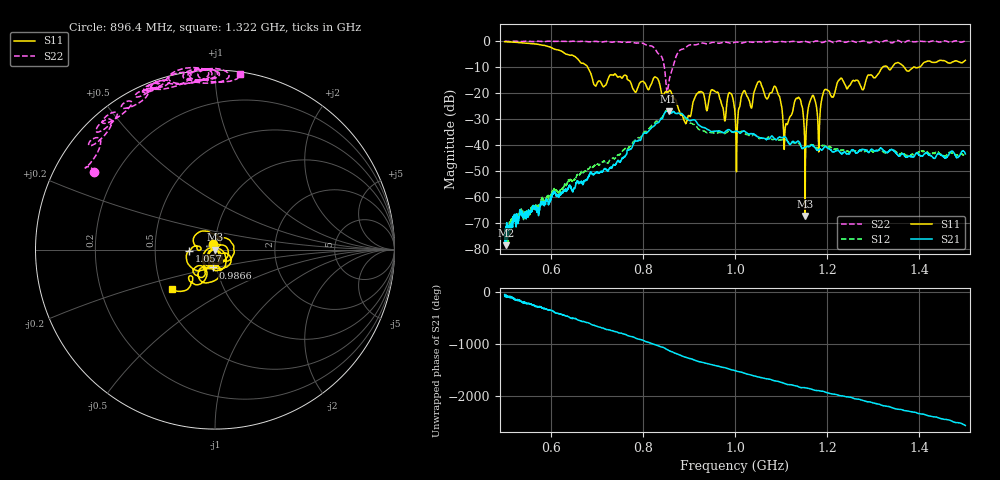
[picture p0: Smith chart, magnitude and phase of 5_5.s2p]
!Agilent Technologies,E8364B,US42250235,A.06.04.32
!Agilent E8364B: A.06.04.32
!Date: Thursday, October 01, 2020 16:07:17
!Correction: S11(Full 2 Port(1,2)) S21(Full 2 Port(1,2)) S12(Full 2 Port(1,2)) S22(Full 2 Port(1,2))
!S2P File: Measurements: S11, S21, S12, S22:
# Hz S  dB  R 50
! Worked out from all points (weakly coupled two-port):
!   2650 points, 500 MHz to 1.5 GHz, reference 50 ohm
!   highest |S21| = -26.87 dB at 856 MHz (marker M1); lowest = -78.5 dB at 502.3 MHz (marker M2)
!   lowest |S11| = -67.2 dB at 1.152 GHz (marker M3), VSWR 1.00, Z = 50 + j0.0412 ohm
!   |S11| at or under -10 dB: 680.4 MHz to 1.32 GHz (640 MHz wide, 64 % of centre); 1.331 GHz to 1.341 GHz (10.3 MHz wide, 0.771 % of centre); 1.367 GHz to 1.387 GHz (20 MHz wide, 1.45 % of centre) (the widest 3 of 4)
!   |S22| runs from -19.7 to 0.3 dB; largest |S21 - S12| = 0.024
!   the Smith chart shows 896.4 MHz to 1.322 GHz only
!   S11 on the Smith chart (normalised r, x): 896.4 MHz: 0.98, +0.06; 986.6 MHz: 0.96, -0.19; 1.057 GHz: 0.75, -0.01; 1.322 GHz: 0.56, -0.28
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5e8  -0.22 -175.2  -74.77 -50.9  -73.43 -78.7  0.01 143.3
5.02265e8  -0.23 -176.4  -78.50 -76.0  -73.90 -86.2  -0.01 144.2
5.943752e8  -1.99 123.4  -61.72 10.5  -59.87 1.5  -0.03 128.5
6.668554e8  -8.49 68.6  -53.81 156.4  -50.08 139.0  -0.08 124.9
7.955832e8  -15.65 51.2  -37.89 166.5  -36.96 154.7  -0.66 97.3
8.337108e8  -14.95 -19.0  -31.24 45.2  -30.74 27.8  -4.85 54.1
8.559834e8  -19.34 -44.3  -26.87 -42.5  -26.64 -66.7  -16.20 -98.2
8.96376e8  -29.84 109.8  -29.85 175.0  -30.45 138.8  -1.95 147.4
9.212911e8  -19.50 12.0  -32.22 104.7  -33.91 75.2  -1.04 136.2
9.865987e8  -20.00 -96.9  -33.96 -37.7  -34.54 -49.1  -0.65 130.6
1.000189e9  -27.93 173.6  -34.63 -69.4  -34.97 -79.3  -0.40 119.9
1.057191e9  -16.88 -177.4  -37.22 155.5  -37.17 157.8  -0.29 114.7
1.089656e9  -18.21 122.4  -37.89 90.2  -37.76 92.5  -0.34 109.5
1.109287e9  -32.86 108.4  -36.88 38.7  -37.71 48.1  -0.32 112.6
1.138732e9  -21.63 -74.2  -38.66 -22.3  -39.35 -14.7  -0.41 108.5
1.152322e9  -67.21 109.2  -40.86 -38.8  -40.91 -30.5  -0.10 109.5
1.166667e9  -21.42 -77.2  -40.01 -67.9  -39.82 -60.0  -0.49 100.4
1.181389e9  -40.41 141.3  -41.75 -93.8  -40.93 -81.1  -0.09 105.7
1.196112e9  -18.56 -77.3  -40.39 -121.5  -40.22 -117.1  -0.10 92.1
1.322197e9  -9.74 -137.1  -42.06 -23.4  -42.64 -9.2  -0.09 82.1
1.333522e9  -10.64 -153.6  -42.28 -37.0  -42.51 -24.9  -0.06 97.4
1.5e9  -7.40 145.2  -43.32 -41.0  -44.20 -35.9  0.13 71.2
